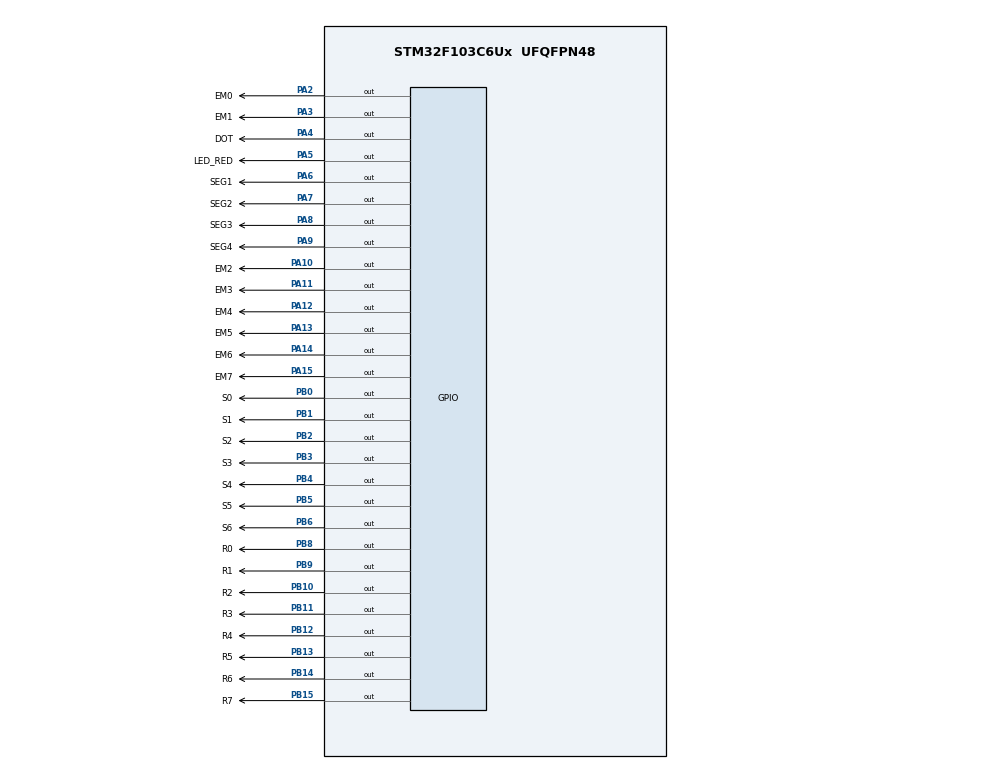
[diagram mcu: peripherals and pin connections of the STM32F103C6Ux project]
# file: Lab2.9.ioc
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Mcu.Family=STM32F1
Mcu.Name=STM32F103C6Ux
Mcu.Package=UFQFPN48
NVIC.PriorityGroup=NVIC_PRIORITYGROUP_4
NVIC.TIM2_IRQn=true\:0\:0\:false\:false\:true\:true\:true
PA10.GPIO_Label=EM2
PA10.Signal=GPIO_Output
PA11.GPIO_Label=EM3
PA11.Signal=GPIO_Output
PA12.GPIO_Label=EM4
PA12.Signal=GPIO_Output
PA13.GPIO_Label=EM5
PA13.Signal=GPIO_Output
PA14.GPIO_Label=EM6
PA14.Signal=GPIO_Output
PA15.GPIO_Label=EM7
PA15.Signal=GPIO_Output
PA2.GPIO_Label=EM0
PA2.Signal=GPIO_Output
PA3.GPIO_Label=EM1
PA3.Signal=GPIO_Output
PA4.GPIO_Label=DOT
PA4.Signal=GPIO_Output
PA5.GPIO_Label=LED_RED
PA5.Signal=GPIO_Output
PA6.GPIO_Label=SEG1
PA6.Signal=GPIO_Output
PA7.GPIO_Label=SEG2
PA7.Signal=GPIO_Output
PA8.GPIO_Label=SEG3
PA8.Signal=GPIO_Output
PA9.GPIO_Label=SEG4
PA9.Signal=GPIO_Output
PB0.GPIO_Label=S0
PB0.Signal=GPIO_Output
PB1.GPIO_Label=S1
PB1.Signal=GPIO_Output
PB10.GPIO_Label=R2
PB10.Signal=GPIO_Output
PB11.GPIO_Label=R3
PB11.Signal=GPIO_Output
PB12.GPIO_Label=R4
PB12.Signal=GPIO_Output
PB13.GPIO_Label=R5
PB13.Signal=GPIO_Output
PB14.GPIO_Label=R6
PB14.Signal=GPIO_Output
PB15.GPIO_Label=R7
PB15.Signal=GPIO_Output
PB2.GPIO_Label=S2
PB2.Signal=GPIO_Output
PB3.GPIO_Label=S3
PB3.Signal=GPIO_Output
PB4.GPIO_Label=S4
PB4.Signal=GPIO_Output
PB5.GPIO_Label=S5
PB5.Signal=GPIO_Output
PB6.GPIO_Label=S6
PB6.Signal=GPIO_Output
PB8.GPIO_Label=R0
PB8.Signal=GPIO_Output
PB9.GPIO_Label=R1
PB9.Signal=GPIO_Output
ProjectManager.HeapSize=0x200
ProjectManager.StackSize=0x400
ProjectManager.TargetToolchain=STM32CubeIDE
RCC.APB1Freq_Value=8000000
RCC.APB2Freq_Value=8000000
TIM2.Period=9
TIM2.Prescaler=7999
VP_SYS_VS_ND.Mode=No_Debug
VP_TIM2_VS_ClockSourceINT.Mode=Internal
board=custom

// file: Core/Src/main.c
/* USER CODE BEGIN Header */
/**
  ******************************************************************************
  * @file           : main.c
  * @brief          : Main program body
  ******************************************************************************
  * @attention
  *
  * <h2><center>&copy; Copyright (c) 2022 STMicroelectronics.
  * All rights reserved.</center></h2>
  *
  * This software component is licensed by ST under BSD 3-Clause license,
  * the "License"; You may not use this file except in compliance with the
  * License. You may obtain a copy of the License at:
  *                        opensource.org/licenses/BSD-3-Clause
  *
  ******************************************************************************
  */
/* USER CODE END Header */
#include "main.h"

TIM_HandleTypeDef htim2;

void SystemClock_Config(void);
static void MX_GPIO_Init(void);
static void MX_TIM2_Init(void);

/* USER CODE BEGIN 0 */
const int MAX_LED = 4;
int index_led = 0;
int led_buffer[4] = {1, 2, 3, 4};
int hour = 15 , minute = 8 , second = 50;
int timer0_counter = 0;
int timer0_flag = 0;
int TIMER_CYCLE = 10;
int timer1_counter = 0;
int timer1_flag = 0;
void setTimer0 ( int duration ) {
timer0_counter = duration/TIMER_CYCLE ;
timer0_flag = 0;
}
void setTimer1 ( int duration ) {
timer1_counter = duration/TIMER_CYCLE ;
timer1_flag = 0;
}
void timer_run () {
if( timer0_counter > 0) {
timer0_counter--;
if( timer0_counter == 0) timer0_flag = 1;
}
}
void timer1_run () {
if( timer1_counter > 0) {
timer1_counter--;
if( timer1_counter == 0) timer1_flag = 1;
}
}
/* USER CODE END 0 */

int main(void)
{

  /* MCU Configuration--------------------------------------------------------*/

  /* Reset of all peripherals, Initializes the Flash interface and the Systick. */
  HAL_Init();

  /* Configure the system clock */
  SystemClock_Config();

  /* Initialize all configured peripherals */
  MX_GPIO_Init();
  MX_TIM2_Init();
  /* USER CODE BEGIN 2 */
  HAL_TIM_Base_Start_IT(&htim2);
  /* USER CODE END 2 */

  /* Infinite loop */
  /* USER CODE BEGIN WHILE */
  setTimer0(1000);
  setTimer1(250);
  while (1)
  {
	  if( timer0_flag == 1) {
	  HAL_GPIO_TogglePin ( LED_RED_GPIO_Port , LED_RED_Pin) ;
	  HAL_GPIO_TogglePin ( DOT_GPIO_Port , DOT_Pin) ;
	  second ++;
	  if ( second >= 60) {
	  second = 0;
	  minute ++;
	  }
	  if( minute >= 60) {
	  minute = 0;
	  hour ++;
	  }
	  if( hour >=24) {
	  hour = 0;
	  }
	  updateClockBuffer () ;
	  setTimer0 (1000) ;
	  }
	  if (timer1_flag == 1) {
		  update7SEG(index_led++);
		  if (index_led>=MAX_LED) {
			  index_led=0;
		  }
		  setTimer1(250);
	  }
    /* USER CODE END WHILE */

  }
}

void SystemClock_Config(void)
{
  RCC_OscInitTypeDef RCC_OscInitStruct = {0};
  RCC_ClkInitTypeDef RCC_ClkInitStruct = {0};

  /** Initializes the RCC Oscillators according to the specified parameters
  * in the RCC_OscInitTypeDef structure.
  */
  RCC_OscInitStruct.OscillatorType = RCC_OSCILLATORTYPE_HSI;
  RCC_OscInitStruct.HSIState = RCC_HSI_ON;
  RCC_OscInitStruct.HSICalibrationValue = RCC_HSICALIBRATION_DEFAULT;
  RCC_OscInitStruct.PLL.PLLState = RCC_PLL_NONE;
  if (HAL_RCC_OscConfig(&RCC_OscInitStruct) != HAL_OK)
  {
    Error_Handler();
  }
  /** Initializes the CPU, AHB and APB buses clocks
  */
  RCC_ClkInitStruct.ClockType = RCC_CLOCKTYPE_HCLK|RCC_CLOCKTYPE_SYSCLK
                              |RCC_CLOCKTYPE_PCLK1|RCC_CLOCKTYPE_PCLK2;
  RCC_ClkInitStruct.SYSCLKSource = RCC_SYSCLKSOURCE_HSI;
  RCC_ClkInitStruct.AHBCLKDivider = RCC_SYSCLK_DIV1;
  RCC_ClkInitStruct.APB1CLKDivider = RCC_HCLK_DIV1;
  RCC_ClkInitStruct.APB2CLKDivider = RCC_HCLK_DIV1;

  if (HAL_RCC_ClockConfig(&RCC_ClkInitStruct, FLASH_LATENCY_0) != HAL_OK)
  {
    Error_Handler();
  }
}

static void MX_TIM2_Init(void)
{

  TIM_ClockConfigTypeDef sClockSourceConfig = {0};
  TIM_MasterConfigTypeDef sMasterConfig = {0};

  htim2.Instance = TIM2;
  htim2.Init.Prescaler = 7999;
  htim2.Init.CounterMode = TIM_COUNTERMODE_UP;
  htim2.Init.Period = 9;
  htim2.Init.ClockDivision = TIM_CLOCKDIVISION_DIV1;
  htim2.Init.AutoReloadPreload = TIM_AUTORELOAD_PRELOAD_DISABLE;
  if (HAL_TIM_Base_Init(&htim2) != HAL_OK)
  {
    Error_Handler();
  }
  sClockSourceConfig.ClockSource = TIM_CLOCKSOURCE_INTERNAL;
  if (HAL_TIM_ConfigClockSource(&htim2, &sClockSourceConfig) != HAL_OK)
  {
    Error_Handler();
  }
  sMasterConfig.MasterOutputTrigger = TIM_TRGO_RESET;
  sMasterConfig.MasterSlaveMode = TIM_MASTERSLAVEMODE_DISABLE;
  if (HAL_TIMEx_MasterConfigSynchronization(&htim2, &sMasterConfig) != HAL_OK)
  {
    Error_Handler();
  }

}

static void MX_GPIO_Init(void)
{
  GPIO_InitTypeDef GPIO_InitStruct = {0};

  /* GPIO Ports Clock Enable */
  __HAL_RCC_GPIOA_CLK_ENABLE();
  __HAL_RCC_GPIOB_CLK_ENABLE();

  /*Configure GPIO pin Output Level */
  HAL_GPIO_WritePin(GPIOA, EM0_Pin|EM1_Pin|DOT_Pin|LED_RED_Pin
                          |SEG1_Pin|SEG2_Pin|SEG3_Pin|SEG4_Pin
                          |EM2_Pin|EM3_Pin|EM4_Pin|EM5_Pin
                          |EM6_Pin|EM7_Pin, GPIO_PIN_RESET);

  /*Configure GPIO pin Output Level */
  HAL_GPIO_WritePin(GPIOB, S0_Pin|S1_Pin|S2_Pin|R2_Pin
                          |R3_Pin|R4_Pin|R5_Pin|R6_Pin
                          |R7_Pin|S3_Pin|S4_Pin|S5_Pin
                          |S6_Pin|R0_Pin|R1_Pin, GPIO_PIN_RESET);

  /*Configure GPIO pins : EM0_Pin EM1_Pin DOT_Pin LED_RED_Pin
                           SEG1_Pin SEG2_Pin SEG3_Pin SEG4_Pin
                           EM2_Pin EM3_Pin EM4_Pin EM5_Pin
                           EM6_Pin EM7_Pin */
  GPIO_InitStruct.Pin = EM0_Pin|EM1_Pin|DOT_Pin|LED_RED_Pin
                          |SEG1_Pin|SEG2_Pin|SEG3_Pin|SEG4_Pin
                          |EM2_Pin|EM3_Pin|EM4_Pin|EM5_Pin
                          |EM6_Pin|EM7_Pin;
  GPIO_InitStruct.Mode = GPIO_MODE_OUTPUT_PP;
  GPIO_InitStruct.Pull = GPIO_NOPULL;
  GPIO_InitStruct.Speed = GPIO_SPEED_FREQ_LOW;
  HAL_GPIO_Init(GPIOA, &GPIO_InitStruct);

  /*Configure GPIO pins : S0_Pin S1_Pin S2_Pin R2_Pin
                           R3_Pin R4_Pin R5_Pin R6_Pin
                           R7_Pin S3_Pin S4_Pin S5_Pin
                           S6_Pin R0_Pin R1_Pin */
  GPIO_InitStruct.Pin = S0_Pin|S1_Pin|S2_Pin|R2_Pin
                          |R3_Pin|R4_Pin|R5_Pin|R6_Pin
                          |R7_Pin|S3_Pin|S4_Pin|S5_Pin
                          |S6_Pin|R0_Pin|R1_Pin;
  GPIO_InitStruct.Mode = GPIO_MODE_OUTPUT_PP;
  GPIO_InitStruct.Pull = GPIO_NOPULL;
  GPIO_InitStruct.Speed = GPIO_SPEED_FREQ_LOW;
  HAL_GPIO_Init(GPIOB, &GPIO_InitStruct);

}

/* USER CODE BEGIN 4 */
void HAL_TIM_PeriodElapsedCallback(TIM_HandleTypeDef *htim) {
	timer_run();
	timer1_run();
}
/* USER CODE END 4 */

void Error_Handler(void)
{
  __disable_irq();
  while (1)
  {
  }
}

/************************ (C) COPYRIGHT STMicroelectronics *****END OF FILE****/
